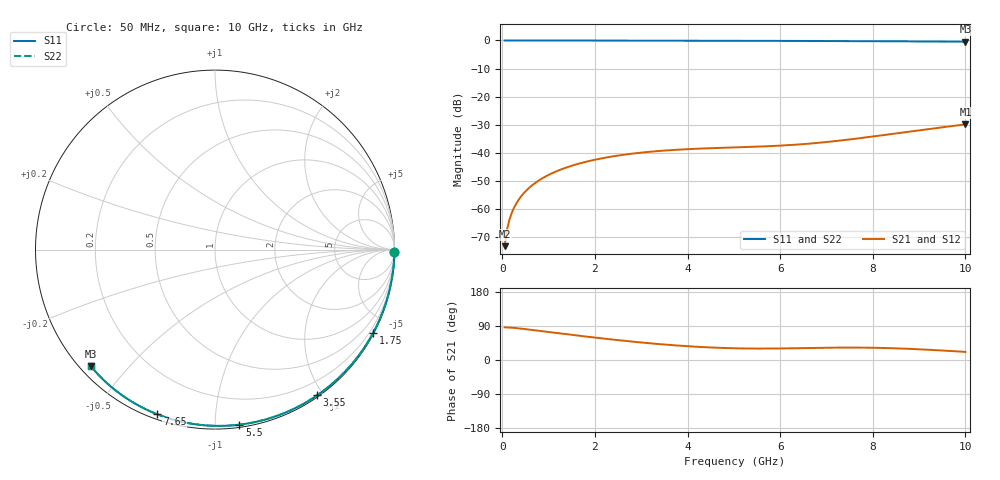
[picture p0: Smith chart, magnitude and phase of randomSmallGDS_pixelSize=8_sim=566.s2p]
! freq	dB(S11)	phase(S11)	dB(S12)	phase(S12)
!  dB(S21)	phase(S21)	dB(S22)	phase(S22)
!S-par simulation data
#  GHz  S  DB  R 50
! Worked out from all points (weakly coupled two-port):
!   200 points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, 50 MHz to 10 GHz, reference 50 ohm
!   highest |S21| = -29.86 dB at 10 GHz (marker M1); lowest = -73.2 dB at 50 MHz (marker M2)
!   lowest |S11| = -0.5 dB at 10 GHz (marker M3), VSWR 38.30, Z = 1.51 - j19.7 ohm
!   |S11| at or under -10 dB: nowhere
!   |S22| runs from -0.5 to 0.0 dB; largest |S21 - S12| = 0
!   S11 on the Smith chart (normalised r, x): 50 MHz: open; 1.75 GHz: 0.04, -4.04; 3.55 GHz: 0.02, -1.92; 5.5 GHz: 0.02, -1.15; 7.65 GHz: 0.02, -0.71; 10 GHz: 0.03, -0.39
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0.05  -0.00 -0.8  -73.19 86.3  -73.19 86.3  -0.00 -0.8
0.1  -0.00 -1.6  -67.44 86.0  -67.44 86.0  -0.00 -1.6
0.15  -0.00 -2.4  -64.01 85.8  -64.01 85.8  -0.00 -2.4
0.2  -0.00 -3.2  -61.56 85.4  -61.56 85.4  -0.00 -3.2
0.25  -0.00 -4.0  -59.64 84.8  -59.64 84.8  -0.00 -4.0
0.35  -0.00 -5.6  -56.75 83.6  -56.75 83.6  -0.00 -5.6
0.5  -0.01 -8.1  -53.69 81.4  -53.69 81.4  -0.01 -8.1
0.7  -0.01 -11.2  -50.82 78.5  -50.82 78.5  -0.01 -11.2
1  -0.02 -16.0  -47.83 73.9  -47.83 73.9  -0.02 -16.0
1.35  -0.03 -21.5  -45.40 68.6  -45.40 68.6  -0.03 -21.5
1.75  -0.04 -27.8  -43.40 62.7  -43.40 62.7  -0.04 -27.8
2.5  -0.05 -39.3  -40.95 52.4  -40.95 52.4  -0.05 -39.3
3.4  -0.07 -52.7  -39.30 41.8  -39.30 41.8  -0.07 -52.7
3.55  -0.07 -54.9  -39.11 40.3  -39.11 40.3  -0.07 -54.9
4.3  -0.09 -65.6  -38.45 34.3  -38.45 34.3  -0.09 -65.7
5.05  -0.12 -76.0  -38.03 30.8  -38.03 30.8  -0.12 -76.0
5.5  -0.13 -82.0  -37.78 30.1  -37.78 30.1  -0.13 -82.1
6.7  -0.19 -97.5  -36.61 31.8  -36.61 31.8  -0.19 -97.5
7.65  -0.24 -109.2  -34.91 32.8  -34.91 32.8  -0.24 -109.3
8.35  -0.30 -117.6  -33.40 31.3  -33.40 31.3  -0.30 -117.6
9.2  -0.37 -127.6  -31.54 27.1  -31.54 27.1  -0.37 -127.6
10  -0.45 -136.9  -29.86 21.4  -29.86 21.4  -0.45 -136.9
